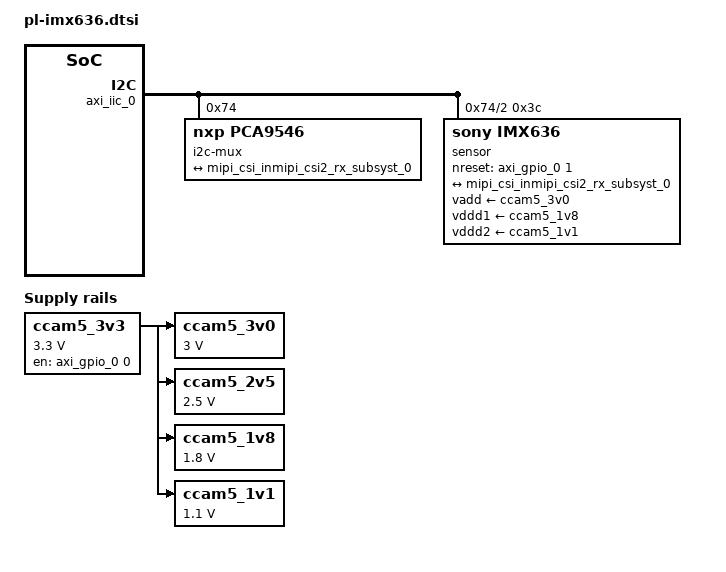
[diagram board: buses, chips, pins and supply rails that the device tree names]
/* This device tree source file will be appended to the dtg-generated device tree file */ 

#define GPIO_ACTIVE_HIGH 0
#define GPIO_ACTIVE_LOW 1

/ {
	fragment@3 {
		target = <&amba>;
		overlay3: __overlay__ {
			#address-cells = <2>;
			#size-cells = <2>;

			ccam5_3v3: ccam5-3v3 {
				compatible = "regulator-fixed";
				regulator-name = "3v3";
				regulator-min-microvolt = <3300000>;
				regulator-max-microvolt = <3300000>;
				gpio = <&axi_gpio_0 0 GPIO_ACTIVE_HIGH>;
				startup-delay-us = <500000>;
				enable-active-high;
			};

			ccam5_3v0: ccam5-3v0 {
				compatible = "regulator-fixed";
				regulator-name = "vadd";
				regulator-min-microvolt = <3000000>;
				regulator-max-microvolt = <3000000>;
				vin-supply = <&ccam5_3v3>;
			};

			ccam5_2v5: ccam5-2v5 {
				compatible = "regulator-fixed";
				regulator-name = "2v5";
				regulator-min-microvolt = <2500000>;
				regulator-max-microvolt = <2500000>;
				vin-supply = <&ccam5_3v3>;
			};

			ccam5_1v8: ccam5-1v8 {
				compatible = "regulator-fixed";
				regulator-name = "vddd1";
				regulator-min-microvolt = <1800000>;
				regulator-max-microvolt = <1800000>;
				vin-supply = <&ccam5_3v3>;
			};

			ccam5_1v1: ccam5-1v1 {
				compatible = "regulator-fixed";
				regulator-name = "vddd2";
				regulator-min-microvolt = <1100000>;
				regulator-max-microvolt = <1100000>;
				vin-supply = <&ccam5_3v3>;
			};

			imx636_clk: ccam5_clk_U9 {
				compatible = "fixed-clock";
				#clock-cells = <0>;
				clock-frequency = <20000000>;
				clock-accuracy = <25>;
			};
		};
	};
};

&ps_host_if_0 {
	compatible = "psee,axi4s-packetizer";
	dmas = <&axi_dma 1>;
	dma-names = "port0";
	ports {
		#address-cells = <1>;
		#size-cells = <0>;

		port@0 {
			/* Sink port */
			reg = <0>;
			packetizer_in: endpoint {
				remote-endpoint = <&smart_tracker_out>;
			};
		};
	};
};

&event_stream_smart_t_0 {
	compatible = "psee,event-stream-smart-tracker", "psee,passthrough";
	ports {
		#address-cells = <1>;
		#size-cells = <0>;

		port@0 {
			/* Sink port */
			reg = <0>;
			direction = "input";
			smart_tracker_in: endpoint {
				remote-endpoint = <&mipi_csirx_outmipi_csi2_rx_subsyst_0>;
			};
		};
		port@1 {
			/* Source port */
			reg = <1>;
			smart_tracker_out: endpoint {
				remote-endpoint = <&packetizer_in>;
			};
		};
	};
};

&axis_tkeep_handler_0 {
	compatible = "psee,axis-tkeep-handler", "psee,passthrough";
	ports {
		#address-cells = <1>;
		#size-cells = <0>;

		port@0 {
			/* Sink port */
			reg = <0>;
			axis_tkeep_handler_0mipi_csi2_rx_subsyst_0: endpoint {
				remote-endpoint = <&mipi_csirx_outmipi_csi2_rx_subsyst_0>;
			};
		};
		port@1 {
			/* Source port */
			reg = <1>;
			tkeep_handler_out: endpoint {
				remote-endpoint = <&smart_tracker_in>;
			};
		};
	};
};

&axi_iic_0 {
	i2c-mux@74 {
		compatible = "nxp,pca9546";
		#address-cells = <1>;
		#size-cells = <0>;
		reg = <0x74>;
		i2c@0 {
			#address-cells = <1>;
			#size-cells = <0>;
			reg = <0>;
		};
		i2c@2 {
			#address-cells = <1>;
			#size-cells = <0>;
			reg = <2>;
			sensor@3c {
				compatible = "sony,imx636";
				reg = <0x3c>;

				clocks = <&imx636_clk>;

				vadd-supply = <&ccam5_3v0>;
				vddd1-supply = <&ccam5_1v8>;
				vddd2-supply = <&ccam5_1v1>;

				nreset-gpio = <&axi_gpio_0 1 GPIO_ACTIVE_HIGH>;

				port {
					imx636: endpoint {
						remote-endpoint = <&mipi_csi_inmipi_csi2_rx_subsyst_0>;
						data-lanes = <1 2>;
						link-frequencies = /bits/ 64 <600000000>;
					};
				};

			};
		};
	};
};

&mipi_csi_inmipi_csi2_rx_subsyst_0 {
	remote-endpoint = <&imx636>;
};
